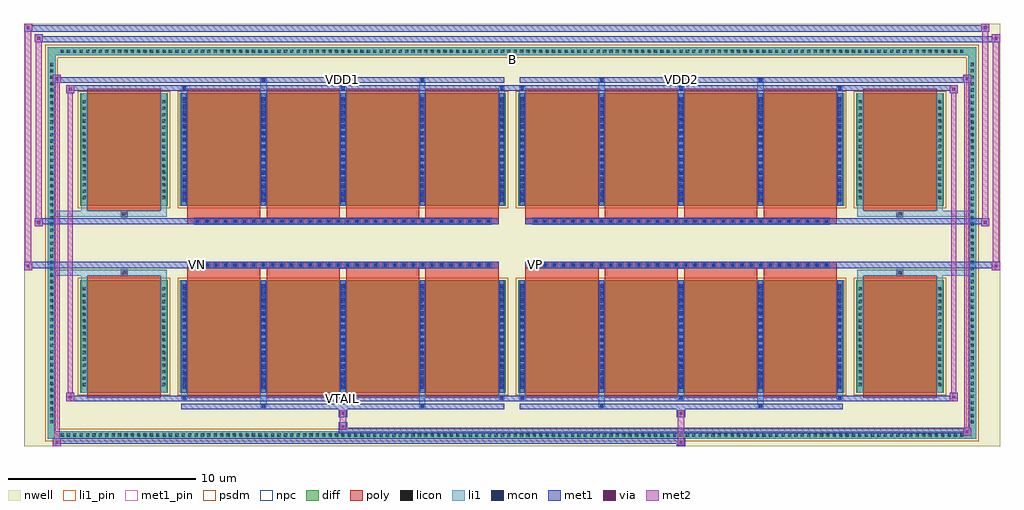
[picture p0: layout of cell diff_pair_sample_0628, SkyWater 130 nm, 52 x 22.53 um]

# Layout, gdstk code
import gdstk
lib = gdstk.Library(unit=1e-6, precision=5e-09)
def R(c, l, rs):  # rectangles x0, y0, x1, y1
    for r in rs: c.add(gdstk.rectangle(r[:2], r[2:], *l))
def A(c, l, x, y, w, h, nx, ny, dx, dy):  # array of equal rectangles
    R(c, l, [(x+i*dx, y+j*dy, x+i*dx+w, y+j*dy+h) for i in range(nx) for j in range(ny)])
def P(c, l, *ps):  # polygons
    for p in ps: c.add(gdstk.Polygon(p, *l))
nwell = (64, 20)
diff = (65, 20)
poly = (66, 20)
licon = (66, 44)
li1_pin = (67, 16)
li1 = (67, 20)
mcon = (67, 44)
met1_pin = (68, 16)
met1 = (68, 20)
via = (68, 44)
met2 = (69, 20)
psdm = (94, 20)
npc = (95, 20)

diff_pair_sample_0628 = lib.new_cell('diff_pair_sample_0628')
R(diff_pair_sample_0628, nwell, [(-26,-10.83,26,11.7), (-23.32,-9.02,-0.01,-0.8), (0.01,-9.02,23.32,-0.8), (-23.32,0.8,-0.01,9.02), (0.01,0.8,23.32,9.02)])
A(diff_pair_sample_0628, diff, -24.175, -10.43, 0.41, 0.41, 142, 2, 0.34, 20.45)
A(diff_pair_sample_0628, diff, -24.73, -9.725, 0.41, 0.41, 1, 57, 0, 0.34)
A(diff_pair_sample_0628, diff, 24.32, -9.725, 0.41, 0.41, 1, 57, 0, 0.34)
R(diff_pair_sample_0628, diff, [(-24.175,-10.43,24.175,-10.02), (-24.73,-9.725,-24.32,9.725), (24.32,-9.725,24.73,9.725), (-23.01,-7.975,-18.33,-1.985), (-17.69,-7.975,-0.32,-1.985), (0.32,-7.975,17.69,-1.985), (18.33,-7.975,23.01,-1.985), (-23.01,1.985,-18.33,7.975), (-17.69,1.985,-0.32,7.975), (0.32,1.985,17.69,7.975), (18.33,1.985,23.01,7.975), (-24.175,10.02,24.175,10.43)])
P(diff_pair_sample_0628, diff, [(24.73,10.43),(-24.73,10.43),(-24.73,-10.02),(-24.32,-10.02),(-24.32,10.02),(24.32,10.02),(24.32,-10.02),(-24.32,-10.02),(-24.73,-10.02),(-24.73,-10.43),(24.73,-10.43)])
A(diff_pair_sample_0628, poly, -17.3, -8.225, 3.9, 6.49, 4, 2, 4.23, 9.96)
A(diff_pair_sample_0628, poly, 0.71, -8.225, 3.9, 6.49, 4, 2, 4.23, 9.96)
A(diff_pair_sample_0628, poly, -17.3, -1.735, 3.9, 0.405, 4, 2, 4.23, 3.065)
A(diff_pair_sample_0628, poly, 0.71, -1.735, 3.9, 0.405, 4, 2, 4.23, 3.065)
A(diff_pair_sample_0628, poly, -16.92, -1.33, 0.33, 0.33, 32, 2, 0.5, 2.33)
A(diff_pair_sample_0628, poly, 1.09, -1.33, 0.33, 0.33, 32, 2, 0.5, 2.33)
R(diff_pair_sample_0628, poly, [(-22.62,-8.225,-18.72,-1.735), (18.72,-8.225,22.62,-1.735), (-20.835,-1.735,-20.505,-1.405), (-20.835,-1.735,-20.505,-1.405), (20.505,-1.735,20.835,-1.405), (20.505,-1.735,20.835,-1.405), (-17.3,-1.33,-0.71,-1), (0.71,-1.33,17.3,-1), (-17.3,1,-0.71,1.33), (0.71,1,17.3,1.33), (-20.835,1.405,-20.505,1.735), (-20.835,1.405,-20.505,1.735), (20.505,1.405,20.835,1.735), (20.505,1.405,20.835,1.735), (-22.62,1.735,-18.72,8.225), (18.72,1.735,22.62,8.225)])
A(diff_pair_sample_0628, licon, -24.055, -10.31, 0.17, 0.17, 142, 2, 0.34, 20.45)
A(diff_pair_sample_0628, licon, -24.61, -9.605, 0.17, 0.17, 1, 57, 0, 0.34)
A(diff_pair_sample_0628, licon, 24.44, -9.605, 0.17, 0.17, 1, 57, 0, 0.34)
A(diff_pair_sample_0628, licon, -22.87, -7.615, 0.17, 0.17, 1, 16, 0, 0.34)
A(diff_pair_sample_0628, licon, -18.64, -7.615, 0.17, 0.17, 1, 16, 0, 0.34)
A(diff_pair_sample_0628, licon, -17.55, -7.615, 0.17, 0.17, 5, 16, 4.23, 0.34)
A(diff_pair_sample_0628, licon, 0.46, -7.615, 0.17, 0.17, 5, 16, 4.23, 0.34)
A(diff_pair_sample_0628, licon, 18.47, -7.615, 0.17, 0.17, 1, 16, 0, 0.34)
A(diff_pair_sample_0628, licon, 22.7, -7.615, 0.17, 0.17, 1, 16, 0, 0.34)
A(diff_pair_sample_0628, licon, -16.84, -1.25, 0.17, 0.17, 32, 2, 0.5, 2.33)
A(diff_pair_sample_0628, licon, 1.17, -1.25, 0.17, 0.17, 32, 2, 0.5, 2.33)
A(diff_pair_sample_0628, licon, -22.87, 2.345, 0.17, 0.17, 1, 16, 0, 0.34)
A(diff_pair_sample_0628, licon, -18.64, 2.345, 0.17, 0.17, 1, 16, 0, 0.34)
A(diff_pair_sample_0628, licon, -17.55, 2.345, 0.17, 0.17, 5, 16, 4.23, 0.34)
A(diff_pair_sample_0628, licon, 0.46, 2.345, 0.17, 0.17, 5, 16, 4.23, 0.34)
A(diff_pair_sample_0628, licon, 18.47, 2.345, 0.17, 0.17, 1, 16, 0, 0.34)
A(diff_pair_sample_0628, licon, 22.7, 2.345, 0.17, 0.17, 1, 16, 0, 0.34)
R(diff_pair_sample_0628, licon, [(-20.755,-1.655,-20.585,-1.485), (20.585,-1.655,20.755,-1.485), (-20.755,1.485,-20.585,1.655), (20.585,1.485,20.755,1.655)])
R(diff_pair_sample_0628, li1_pin, [(-0.25,9.52,0.25,10.02)])
A(diff_pair_sample_0628, li1, -24.135, -10.39, 0.33, 0.33, 142, 2, 0.34, 20.45)
A(diff_pair_sample_0628, li1, -24.69, -9.685, 0.33, 0.33, 1, 57, 0, 0.34)
A(diff_pair_sample_0628, li1, 24.36, -9.685, 0.33, 0.33, 1, 57, 0, 0.34)
A(diff_pair_sample_0628, li1, -17.63, -8.35, 0.33, 0.375, 3, 2, 8.46, 16.325)
A(diff_pair_sample_0628, li1, -17.55, -8.35, 0.17, 0.17, 3, 2, 8.46, 16.53)
A(diff_pair_sample_0628, li1, 0.38, -8.35, 0.33, 0.375, 3, 2, 8.46, 16.325)
A(diff_pair_sample_0628, li1, 0.46, -8.35, 0.17, 0.17, 3, 2, 8.46, 16.53)
A(diff_pair_sample_0628, li1, -17.63, -7.975, 0.33, 5.99, 5, 2, 4.23, 9.96)
A(diff_pair_sample_0628, li1, 0.38, -7.975, 0.33, 5.99, 5, 2, 4.23, 9.96)
A(diff_pair_sample_0628, li1, -17.55, -7.765, 0.17, 0.17, 5, 16, 4.23, 0.36)
A(diff_pair_sample_0628, li1, -17.55, -7.765, 0.17, 5.57, 5, 2, 4.23, 9.96)
A(diff_pair_sample_0628, li1, 0.46, -7.765, 0.17, 0.17, 5, 16, 4.23, 0.36)
A(diff_pair_sample_0628, li1, 0.46, -7.765, 0.17, 5.57, 5, 2, 4.23, 9.96)
A(diff_pair_sample_0628, li1, -22.95, -7.695, 0.33, 0.33, 1, 16, 0, 0.34)
A(diff_pair_sample_0628, li1, -18.72, -7.695, 0.33, 0.33, 1, 16, 0, 0.34)
A(diff_pair_sample_0628, li1, -17.63, -7.695, 0.33, 0.33, 5, 16, 4.23, 0.34)
A(diff_pair_sample_0628, li1, 0.38, -7.695, 0.33, 0.33, 5, 16, 4.23, 0.34)
A(diff_pair_sample_0628, li1, 18.39, -7.695, 0.33, 0.33, 1, 16, 0, 0.34)
A(diff_pair_sample_0628, li1, 22.62, -7.695, 0.33, 0.33, 1, 16, 0, 0.34)
A(diff_pair_sample_0628, li1, -16.92, -1.33, 0.33, 0.33, 32, 2, 0.5, 2.33)
A(diff_pair_sample_0628, li1, 1.09, -1.33, 0.33, 0.33, 32, 2, 0.5, 2.33)
A(diff_pair_sample_0628, li1, -17.55, 2.195, 0.17, 0.17, 5, 16, 4.23, 0.36)
A(diff_pair_sample_0628, li1, 0.46, 2.195, 0.17, 0.17, 5, 16, 4.23, 0.36)
A(diff_pair_sample_0628, li1, -22.95, 2.265, 0.33, 0.33, 1, 16, 0, 0.34)
A(diff_pair_sample_0628, li1, -18.72, 2.265, 0.33, 0.33, 1, 16, 0, 0.34)
A(diff_pair_sample_0628, li1, -17.63, 2.265, 0.33, 0.33, 5, 16, 4.23, 0.34)
A(diff_pair_sample_0628, li1, 0.38, 2.265, 0.33, 0.33, 5, 16, 4.23, 0.34)
A(diff_pair_sample_0628, li1, 18.39, 2.265, 0.33, 0.33, 1, 16, 0, 0.34)
A(diff_pair_sample_0628, li1, 22.62, 2.265, 0.33, 0.33, 1, 16, 0, 0.34)
R(diff_pair_sample_0628, li1, [(-24.73,-10.43,-24.32,-10.02), (-24.73,-10.43,-24.32,-10.02), (-24.32,-10.43,24.32,-10.02), (24.32,-10.43,24.73,-10.02), (24.32,-10.43,24.73,-10.02), (-24.73,-10.02,-24.32,10.02), (24.32,-10.02,24.73,10.02), (-13.4,-8.78,-13.07,-7.975), (-13.32,-8.78,-13.15,-8.61), (-4.94,-8.78,-4.61,-7.975), (-4.86,-8.78,-4.69,-8.61), (4.61,-8.78,4.94,-7.975), (4.69,-8.78,4.86,-8.61), (13.07,-8.78,13.4,-7.975), (13.15,-8.78,13.32,-8.61), (-22.95,-7.975,-22.62,-1.985), (-18.72,-7.975,-18.39,-1.985), (18.39,-7.975,18.72,-1.985), (22.62,-7.975,22.95,-1.985), (-22.95,-1.985,-22.62,-1.405), (-18.72,-1.985,-18.39,-1.405), (18.39,-1.985,18.72,-1.405), (22.62,-1.985,22.95,-1.405), (-24.73,-1.735,-20.835,-1.405), (-22.95,-1.735,-20.835,-1.405), (-20.835,-1.735,-20.505,-1.405), (-20.505,-1.735,-18.39,-1.405), (18.39,-1.735,20.505,-1.405), (20.505,-1.735,20.835,-1.405), (20.505,-1.735,24.73,-1.405), (20.835,-1.735,22.95,-1.405), (-24.73,1.405,-20.835,1.735), (-22.95,1.405,-20.835,1.735), (-22.95,1.405,-22.62,1.985), (-20.835,1.405,-20.505,1.735), (-20.505,1.405,-18.39,1.735), (-18.72,1.405,-18.39,1.985), (18.39,1.405,20.505,1.735), (18.39,1.405,18.72,1.985), (20.505,1.405,20.835,1.735), (20.505,1.405,24.73,1.735), (20.835,1.405,22.95,1.735), (22.62,1.405,22.95,1.985), (-22.95,1.985,-22.62,7.975), (-18.72,1.985,-18.39,7.975), (18.39,1.985,18.72,7.975), (22.62,1.985,22.95,7.975), (-13.4,7.975,-13.07,8.78), (-4.94,7.975,-4.61,8.78), (4.61,7.975,4.94,8.78), (13.07,7.975,13.4,8.78), (-13.32,8.61,-13.15,8.78), (-4.86,8.61,-4.69,8.78), (4.69,8.61,4.86,8.78), (13.15,8.61,13.32,8.78), (-24.73,10.02,-24.32,10.43), (-24.73,10.02,-24.32,10.43), (-24.32,10.02,24.32,10.43), (24.32,10.02,24.73,10.43), (24.32,10.02,24.73,10.43)])
A(diff_pair_sample_0628, mcon, -17.55, -8.35, 0.17, 0.17, 3, 2, 8.46, 16.53)
A(diff_pair_sample_0628, mcon, 0.46, -8.35, 0.17, 0.17, 3, 2, 8.46, 16.53)
A(diff_pair_sample_0628, mcon, -17.55, -7.765, 0.17, 0.17, 5, 16, 4.23, 0.36)
A(diff_pair_sample_0628, mcon, 0.46, -7.765, 0.17, 0.17, 5, 16, 4.23, 0.36)
A(diff_pair_sample_0628, mcon, -16.84, -1.25, 0.17, 0.17, 32, 2, 0.5, 2.33)
A(diff_pair_sample_0628, mcon, 1.17, -1.25, 0.17, 0.17, 32, 2, 0.5, 2.33)
A(diff_pair_sample_0628, mcon, -17.55, 2.195, 0.17, 0.17, 5, 16, 4.23, 0.36)
A(diff_pair_sample_0628, mcon, 0.46, 2.195, 0.17, 0.17, 5, 16, 4.23, 0.36)
R(diff_pair_sample_0628, mcon, [(-13.32,-8.78,-13.15,-8.61), (-4.86,-8.78,-4.69,-8.61), (4.69,-8.78,4.86,-8.61), (13.15,-8.78,13.32,-8.61), (-13.32,8.61,-13.15,8.78), (-4.86,8.61,-4.69,8.78), (4.69,8.61,4.86,8.78), (13.15,8.61,13.32,8.78)])
R(diff_pair_sample_0628, met1_pin, [(-9.14,-8.39,-8.87,-8.12), (-16.89,-1.29,-16.62,-1.02), (1.12,-1.29,1.39,-1.02), (-9.14,8.57,-8.87,8.84), (8.87,8.57,9.14,8.84)])
A(diff_pair_sample_0628, met1, -17.61, -8.41, 0.29, 0.29, 3, 2, 8.46, 16.53)
A(diff_pair_sample_0628, met1, 0.4, -8.41, 0.29, 0.29, 3, 2, 8.46, 16.53)
A(diff_pair_sample_0628, met1, -17.61, -7.975, 0.29, 5.99, 5, 2, 4.23, 9.96)
A(diff_pair_sample_0628, met1, 0.4, -7.975, 0.29, 5.99, 5, 2, 4.23, 9.96)
A(diff_pair_sample_0628, met1, -17.61, -7.825, 0.29, 0.29, 5, 16, 4.23, 0.36)
A(diff_pair_sample_0628, met1, 0.4, -7.825, 0.29, 0.29, 5, 16, 4.23, 0.36)
A(diff_pair_sample_0628, met1, -16.9, -1.31, 0.29, 0.29, 32, 2, 0.5, 2.33)
A(diff_pair_sample_0628, met1, 1.11, -1.31, 0.29, 0.29, 32, 2, 0.5, 2.33)
A(diff_pair_sample_0628, met1, -17.61, 2.135, 0.29, 0.29, 5, 16, 4.23, 0.36)
A(diff_pair_sample_0628, met1, 0.4, 2.135, 0.29, 0.29, 5, 16, 4.23, 0.36)
R(diff_pair_sample_0628, met1, [(-24.46,-10.83,-24.03,-10.4), (8.79,-10.83,9.22,-10.4), (-24.46,-10.69,9.22,-10.4), (24.03,-10.26,24.46,-9.83), (-9.22,-10.12,24.46,-9.83), (-9.22,-9.98,-8.79,-9.55), (-9.22,-9.27,-8.79,-8.84), (8.79,-9.27,9.22,-8.84), (-17.61,-8.84,-0.4,-8.55), (-13.38,-8.84,-13.09,-8.55), (-4.92,-8.84,-4.63,-8.55), (0.4,-8.84,17.61,-8.55), (4.63,-8.84,4.92,-8.55), (13.09,-8.84,13.38,-8.55), (-23.75,-8.41,-23.32,-7.98), (-23.75,-8.41,-17.61,-8.12), (-17.61,-8.41,-0.4,-8.12), (-0.4,-8.41,0.4,-8.12), (0.4,-8.41,17.61,-8.12), (17.61,-8.41,23.75,-8.12), (23.32,-8.41,23.75,-7.98), (-26,-1.43,-25.57,-1), (25.57,-1.43,26,-1), (-26,-1.33,-0.71,-1), (-17.3,-1.33,-0.71,-1), (0.71,-1.33,17.3,-1), (0.71,-1.33,26,-1), (-25.43,0.9,-25,1.33), (25,0.9,25.43,1.33), (-25.43,1,-17.3,1.33), (-17.3,1,-0.71,1.33), (0.71,1,17.3,1.33), (17.3,1,25.43,1.33), (-23.75,7.98,-23.32,8.41), (23.32,7.98,23.75,8.41), (-23.75,8.12,-17.61,8.41), (-17.61,8.12,-0.4,8.41), (-0.4,8.12,0.4,8.41), (0.4,8.12,17.61,8.41), (17.61,8.12,23.75,8.41), (-24.46,8.55,-24.03,8.98), (-24.46,8.55,-17.61,8.84), (-17.61,8.55,-0.4,8.84), (-13.38,8.55,-13.09,8.84), (-4.92,8.55,-4.63,8.84), (0.4,8.55,17.61,8.84), (4.63,8.55,4.92,8.84), (13.09,8.55,13.38,8.84), (17.61,8.55,24.46,8.84), (24.03,8.55,24.46,8.98), (-25.43,10.7,-25,11.13), (-25.43,10.7,-23.32,11.03), (-23.32,10.7,23.32,11.03), (23.32,10.7,26,11.03), (25.57,10.7,26,11.13), (-26,11.27,-25.57,11.7), (-26,11.27,-23.32,11.6), (-23.32,11.27,23.32,11.6), (23.32,11.27,25.43,11.6), (25,11.27,25.43,11.7)])
R(diff_pair_sample_0628, via, [(-24.32,-10.69,-24.17,-10.54), (8.93,-10.69,9.08,-10.54), (24.17,-10.12,24.32,-9.97), (-9.08,-9.84,-8.93,-9.69), (-9.08,-9.13,-8.93,-8.98), (8.93,-9.13,9.08,-8.98), (-23.61,-8.27,-23.46,-8.12), (23.46,-8.27,23.61,-8.12), (-25.86,-1.29,-25.71,-1.14), (25.71,-1.29,25.86,-1.14), (-25.29,1.04,-25.14,1.19), (25.14,1.04,25.29,1.19), (-23.61,8.12,-23.46,8.27), (23.46,8.12,23.61,8.27), (-24.32,8.69,-24.17,8.84), (24.17,8.69,24.32,8.84), (-25.29,10.84,-25.14,10.99), (25.71,10.84,25.86,10.99), (-25.86,11.41,-25.71,11.56), (25.14,11.41,25.29,11.56)])
R(diff_pair_sample_0628, met2, [(-24.46,-10.83,-24.03,-10.4), (-24.39,-10.83,-24.1,8.98), (-24.1,-10.83,-24.03,-10.4), (-24.41,-10.78,-24.08,-10.45), (8.84,-10.78,9.17,-10.45), (8.84,-10.45,9.17,-9.22), (24.03,-10.26,24.46,-9.83), (24.1,-10.26,24.39,8.98), (24.39,-10.26,24.46,-9.83), (24.08,-10.21,24.41,-9.88), (-9.17,-9.93,-8.84,-9.6), (-9.17,-9.6,-8.84,-9.22), (-9.17,-9.22,-8.84,-8.89), (8.84,-9.22,9.17,-8.89), (-23.75,-8.41,-23.32,-7.98), (-23.68,-8.41,-23.39,8.41), (-23.39,-8.41,-23.32,-7.98), (23.32,-8.41,23.75,-7.98), (23.39,-8.41,23.68,8.41), (23.68,-8.41,23.75,-7.98), (-23.7,-8.36,-23.37,-8.03), (23.37,-8.36,23.7,-8.03), (-26,-1.43,-25.57,-1), (-25.95,-1.43,-25.62,11.7), (-25.62,-1.43,-25.57,-1), (25.57,-1.43,26,-1), (25.62,-1.43,25.95,11.13), (25.95,-1.43,26,-1), (-25.95,-1.38,-25.62,-1.05), (25.62,-1.38,25.95,-1.05), (-25.43,0.9,-25,1.33), (-25.38,0.9,-25.05,11.13), (-25.05,0.9,-25,1.33), (25,0.9,25.43,1.33), (25.05,0.9,25.38,11.7), (25.38,0.9,25.43,1.33), (-25.38,0.95,-25.05,1.28), (25.05,0.95,25.38,1.28), (-23.75,7.98,-23.32,8.41), (-23.39,7.98,-23.32,8.41), (23.32,7.98,23.75,8.41), (23.68,7.98,23.75,8.41), (-23.7,8.03,-23.37,8.36), (23.37,8.03,23.7,8.36), (-24.46,8.55,-24.03,8.98), (-24.1,8.55,-24.03,8.98), (24.03,8.55,24.46,8.98), (24.39,8.55,24.46,8.98), (-24.41,8.6,-24.08,8.93), (24.08,8.6,24.41,8.93), (-25.43,10.7,-25,11.13), (-25.05,10.7,-25,11.13), (25.57,10.7,26,11.13), (25.95,10.7,26,11.13), (-25.38,10.75,-25.05,11.08), (25.62,10.75,25.95,11.08), (-26,11.27,-25.57,11.7), (-25.62,11.27,-25.57,11.7), (25,11.27,25.43,11.7), (25.38,11.27,25.43,11.7), (-25.95,11.32,-25.62,11.65), (25.05,11.32,25.38,11.65)])
R(diff_pair_sample_0628, psdm, [(-23.14,-8.105,-18.2,-1.855), (-17.82,-8.105,-0.19,-1.855), (0.19,-8.105,17.82,-1.855), (18.2,-8.105,23.14,-1.855), (-23.14,1.855,-18.2,8.105), (-17.82,1.855,-0.19,8.105), (0.19,1.855,17.82,8.105), (18.2,1.855,23.14,8.105)])
P(diff_pair_sample_0628, psdm, [(24.86,10.56),(-24.86,10.56),(-24.86,-9.89),(-24.19,-9.89),(-24.19,9.89),(24.19,9.89),(24.19,-9.89),(-24.19,-9.89),(-24.86,-9.89),(-24.86,-10.56),(24.86,-10.56)])
A(diff_pair_sample_0628, npc, -16.94, -1.35, 0.37, 0.37, 32, 2, 0.5, 2.33)
A(diff_pair_sample_0628, npc, 1.07, -1.35, 0.37, 0.37, 32, 2, 0.5, 2.33)
R(diff_pair_sample_0628, npc, [(-20.855,-1.755,-20.485,-1.385), (20.485,-1.755,20.855,-1.385), (-16.94,-1.35,-16.07,-0.98), (-16.94,-1.35,-16.07,-0.98), (-16.44,-1.35,-15.57,-0.98), (-16.44,-1.35,-15.57,-0.98), (-15.94,-1.35,-15.07,-0.98), (-15.94,-1.35,-15.07,-0.98), (-15.44,-1.35,-14.57,-0.98), (-15.44,-1.35,-14.57,-0.98), (-14.94,-1.35,-14.07,-0.98), (-14.94,-1.35,-14.07,-0.98), (-14.44,-1.35,-13.57,-0.98), (-14.44,-1.35,-13.57,-0.98), (-13.94,-1.35,-13.07,-0.98), (-13.94,-1.35,-13.07,-0.98), (-13.44,-1.35,-12.57,-0.98), (-13.44,-1.35,-12.57,-0.98), (-12.94,-1.35,-12.07,-0.98), (-12.94,-1.35,-12.07,-0.98), (-12.44,-1.35,-11.57,-0.98), (-12.44,-1.35,-11.57,-0.98), (-11.94,-1.35,-11.07,-0.98), (-11.94,-1.35,-11.07,-0.98), (-11.44,-1.35,-10.57,-0.98), (-11.44,-1.35,-10.57,-0.98), (-10.94,-1.35,-10.07,-0.98), (-10.94,-1.35,-10.07,-0.98), (-10.44,-1.35,-9.57,-0.98), (-10.44,-1.35,-9.57,-0.98), (-9.94,-1.35,-9.07,-0.98), (-9.94,-1.35,-9.07,-0.98), (-9.44,-1.35,-8.57,-0.98), (-9.44,-1.35,-8.57,-0.98), (-8.94,-1.35,-8.07,-0.98), (-8.94,-1.35,-8.07,-0.98), (-8.44,-1.35,-7.57,-0.98), (-8.44,-1.35,-7.57,-0.98), (-7.94,-1.35,-7.07,-0.98), (-7.94,-1.35,-7.07,-0.98), (-7.44,-1.35,-6.57,-0.98), (-7.44,-1.35,-6.57,-0.98), (-6.94,-1.35,-6.07,-0.98), (-6.94,-1.35,-6.07,-0.98), (-6.44,-1.35,-5.57,-0.98), (-6.44,-1.35,-5.57,-0.98), (-5.94,-1.35,-5.07,-0.98), (-5.94,-1.35,-5.07,-0.98), (-5.44,-1.35,-4.57,-0.98), (-5.44,-1.35,-4.57,-0.98), (-4.94,-1.35,-4.07,-0.98), (-4.94,-1.35,-4.07,-0.98), (-4.44,-1.35,-3.57,-0.98), (-4.44,-1.35,-3.57,-0.98), (-3.94,-1.35,-3.07,-0.98), (-3.94,-1.35,-3.07,-0.98), (-3.44,-1.35,-2.57,-0.98), (-3.44,-1.35,-2.57,-0.98), (-2.94,-1.35,-2.07,-0.98), (-2.94,-1.35,-2.07,-0.98), (-2.44,-1.35,-1.57,-0.98), (-2.44,-1.35,-1.57,-0.98), (-1.94,-1.35,-1.07,-0.98), (-1.94,-1.35,-1.07,-0.98), (1.07,-1.35,1.94,-0.98), (1.07,-1.35,1.94,-0.98), (1.57,-1.35,2.44,-0.98), (1.57,-1.35,2.44,-0.98), (2.07,-1.35,2.94,-0.98), (2.07,-1.35,2.94,-0.98), (2.57,-1.35,3.44,-0.98), (2.57,-1.35,3.44,-0.98), (3.07,-1.35,3.94,-0.98), (3.07,-1.35,3.94,-0.98), (3.57,-1.35,4.44,-0.98), (3.57,-1.35,4.44,-0.98), (4.07,-1.35,4.94,-0.98), (4.07,-1.35,4.94,-0.98), (4.57,-1.35,5.44,-0.98), (4.57,-1.35,5.44,-0.98), (5.07,-1.35,5.94,-0.98), (5.07,-1.35,5.94,-0.98), (5.57,-1.35,6.44,-0.98), (5.57,-1.35,6.44,-0.98), (6.07,-1.35,6.94,-0.98), (6.07,-1.35,6.94,-0.98), (6.57,-1.35,7.44,-0.98), (6.57,-1.35,7.44,-0.98), (7.07,-1.35,7.94,-0.98), (7.07,-1.35,7.94,-0.98), (7.57,-1.35,8.44,-0.98), (7.57,-1.35,8.44,-0.98), (8.07,-1.35,8.94,-0.98), (8.07,-1.35,8.94,-0.98), (8.57,-1.35,9.44,-0.98), (8.57,-1.35,9.44,-0.98), (9.07,-1.35,9.94,-0.98), (9.07,-1.35,9.94,-0.98), (9.57,-1.35,10.44,-0.98), (9.57,-1.35,10.44,-0.98), (10.07,-1.35,10.94,-0.98), (10.07,-1.35,10.94,-0.98), (10.57,-1.35,11.44,-0.98), (10.57,-1.35,11.44,-0.98), (11.07,-1.35,11.94,-0.98), (11.07,-1.35,11.94,-0.98), (11.57,-1.35,12.44,-0.98), (11.57,-1.35,12.44,-0.98), (12.07,-1.35,12.94,-0.98), (12.07,-1.35,12.94,-0.98), (12.57,-1.35,13.44,-0.98), (12.57,-1.35,13.44,-0.98), (13.07,-1.35,13.94,-0.98), (13.07,-1.35,13.94,-0.98), (13.57,-1.35,14.44,-0.98), (13.57,-1.35,14.44,-0.98), (14.07,-1.35,14.94,-0.98), (14.07,-1.35,14.94,-0.98), (14.57,-1.35,15.44,-0.98), (14.57,-1.35,15.44,-0.98), (15.07,-1.35,15.94,-0.98), (15.07,-1.35,15.94,-0.98), (15.57,-1.35,16.44,-0.98), (15.57,-1.35,16.44,-0.98), (16.07,-1.35,16.94,-0.98), (16.07,-1.35,16.94,-0.98), (-16.94,0.98,-16.07,1.35), (-16.94,0.98,-16.07,1.35), (-16.44,0.98,-15.57,1.35), (-16.44,0.98,-15.57,1.35), (-15.94,0.98,-15.07,1.35), (-15.94,0.98,-15.07,1.35), (-15.44,0.98,-14.57,1.35), (-15.44,0.98,-14.57,1.35), (-14.94,0.98,-14.07,1.35), (-14.94,0.98,-14.07,1.35), (-14.44,0.98,-13.57,1.35), (-14.44,0.98,-13.57,1.35), (-13.94,0.98,-13.07,1.35), (-13.94,0.98,-13.07,1.35), (-13.44,0.98,-12.57,1.35), (-13.44,0.98,-12.57,1.35), (-12.94,0.98,-12.07,1.35), (-12.94,0.98,-12.07,1.35), (-12.44,0.98,-11.57,1.35), (-12.44,0.98,-11.57,1.35), (-11.94,0.98,-11.07,1.35), (-11.94,0.98,-11.07,1.35), (-11.44,0.98,-10.57,1.35), (-11.44,0.98,-10.57,1.35), (-10.94,0.98,-10.07,1.35), (-10.94,0.98,-10.07,1.35), (-10.44,0.98,-9.57,1.35), (-10.44,0.98,-9.57,1.35), (-9.94,0.98,-9.07,1.35), (-9.94,0.98,-9.07,1.35), (-9.44,0.98,-8.57,1.35), (-9.44,0.98,-8.57,1.35), (-8.94,0.98,-8.07,1.35), (-8.94,0.98,-8.07,1.35), (-8.44,0.98,-7.57,1.35), (-8.44,0.98,-7.57,1.35), (-7.94,0.98,-7.07,1.35), (-7.94,0.98,-7.07,1.35), (-7.44,0.98,-6.57,1.35), (-7.44,0.98,-6.57,1.35), (-6.94,0.98,-6.07,1.35), (-6.94,0.98,-6.07,1.35), (-6.44,0.98,-5.57,1.35), (-6.44,0.98,-5.57,1.35), (-5.94,0.98,-5.07,1.35), (-5.94,0.98,-5.07,1.35), (-5.44,0.98,-4.57,1.35), (-5.44,0.98,-4.57,1.35), (-4.94,0.98,-4.07,1.35), (-4.94,0.98,-4.07,1.35), (-4.44,0.98,-3.57,1.35), (-4.44,0.98,-3.57,1.35), (-3.94,0.98,-3.07,1.35), (-3.94,0.98,-3.07,1.35), (-3.44,0.98,-2.57,1.35), (-3.44,0.98,-2.57,1.35), (-2.94,0.98,-2.07,1.35), (-2.94,0.98,-2.07,1.35), (-2.44,0.98,-1.57,1.35), (-2.44,0.98,-1.57,1.35), (-1.94,0.98,-1.07,1.35), (-1.94,0.98,-1.07,1.35), (1.07,0.98,1.94,1.35), (1.07,0.98,1.94,1.35), (1.57,0.98,2.44,1.35), (1.57,0.98,2.44,1.35), (2.07,0.98,2.94,1.35), (2.07,0.98,2.94,1.35), (2.57,0.98,3.44,1.35), (2.57,0.98,3.44,1.35), (3.07,0.98,3.94,1.35), (3.07,0.98,3.94,1.35), (3.57,0.98,4.44,1.35), (3.57,0.98,4.44,1.35), (4.07,0.98,4.94,1.35), (4.07,0.98,4.94,1.35), (4.57,0.98,5.44,1.35), (4.57,0.98,5.44,1.35), (5.07,0.98,5.94,1.35), (5.07,0.98,5.94,1.35), (5.57,0.98,6.44,1.35), (5.57,0.98,6.44,1.35), (6.07,0.98,6.94,1.35), (6.07,0.98,6.94,1.35), (6.57,0.98,7.44,1.35), (6.57,0.98,7.44,1.35), (7.07,0.98,7.94,1.35), (7.07,0.98,7.94,1.35), (7.57,0.98,8.44,1.35), (7.57,0.98,8.44,1.35), (8.07,0.98,8.94,1.35), (8.07,0.98,8.94,1.35), (8.57,0.98,9.44,1.35), (8.57,0.98,9.44,1.35), (9.07,0.98,9.94,1.35), (9.07,0.98,9.94,1.35), (9.57,0.98,10.44,1.35), (9.57,0.98,10.44,1.35), (10.07,0.98,10.94,1.35), (10.07,0.98,10.94,1.35), (10.57,0.98,11.44,1.35), (10.57,0.98,11.44,1.35), (11.07,0.98,11.94,1.35), (11.07,0.98,11.94,1.35), (11.57,0.98,12.44,1.35), (11.57,0.98,12.44,1.35), (12.07,0.98,12.94,1.35), (12.07,0.98,12.94,1.35), (12.57,0.98,13.44,1.35), (12.57,0.98,13.44,1.35), (13.07,0.98,13.94,1.35), (13.07,0.98,13.94,1.35), (13.57,0.98,14.44,1.35), (13.57,0.98,14.44,1.35), (14.07,0.98,14.94,1.35), (14.07,0.98,14.94,1.35), (14.57,0.98,15.44,1.35), (14.57,0.98,15.44,1.35), (15.07,0.98,15.94,1.35), (15.07,0.98,15.94,1.35), (15.57,0.98,16.44,1.35), (15.57,0.98,16.44,1.35), (16.07,0.98,16.94,1.35), (16.07,0.98,16.94,1.35), (-20.855,1.385,-20.485,1.755), (20.485,1.385,20.855,1.755)])
diff_pair_sample_0628.add(gdstk.Label('VTAIL', (-9.005,-8.255), layer=68, texttype=5))
diff_pair_sample_0628.add(gdstk.Label('VN', (-16.755,-1.155), layer=68, texttype=5))
diff_pair_sample_0628.add(gdstk.Label('VP', (1.255,-1.155), layer=68, texttype=5))
diff_pair_sample_0628.add(gdstk.Label('B', (0,9.77), layer=67, texttype=5))
diff_pair_sample_0628.add(gdstk.Label('VDD2', (9.005,8.705), layer=68, texttype=5))
diff_pair_sample_0628.add(gdstk.Label('VDD1', (-9.005,8.705), layer=68, texttype=5))

lib.write_gds('diff_pair_sample_0628.gds')
